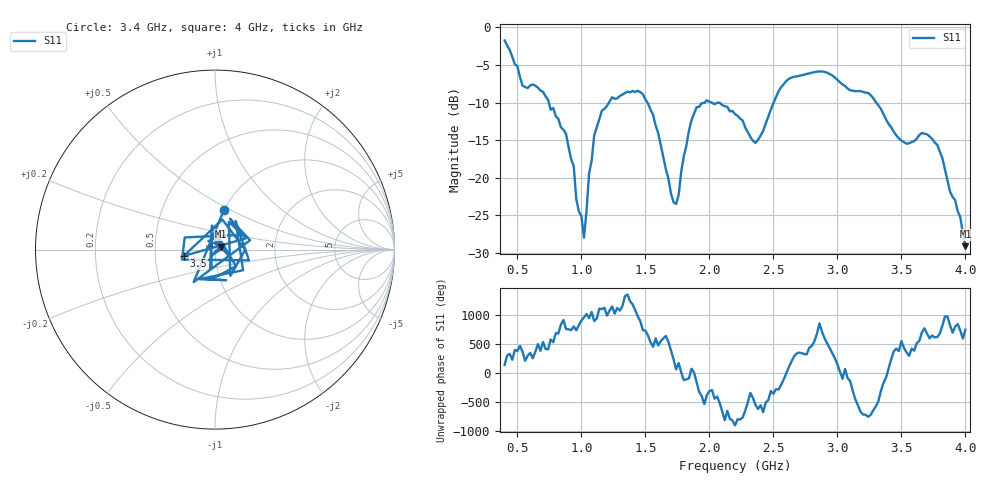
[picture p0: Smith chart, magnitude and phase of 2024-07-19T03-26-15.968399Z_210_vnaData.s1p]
!Created with skrf (http://scikit-rf.org).
# Hz S RI R 50.0
!freq ReS11 ImS11
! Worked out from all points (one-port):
!   181 points, 400 MHz to 4 GHz, reference 50 ohm
!   lowest |S11| = -29.1 dB at 4 GHz (marker M1), VSWR 1.07, Z = 53.1 + j1.8 ohm
!   |S11| at or under -10 dB: 745.3 MHz to 1.216 GHz (470.7 MHz wide, 48 % of centre); 2.017 GHz to 2.502 GHz (485.3 MHz wide, 21.5 % of centre); 3.303 GHz to end of sweep (the widest 3 of 4)
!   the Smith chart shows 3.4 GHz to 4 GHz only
!   S11 on the Smith chart (normalised r, x): 3.4 GHz: 1.00, +0.47; 3.5 GHz: 0.70, -0.05; 4 GHz: 1.06, +0.04
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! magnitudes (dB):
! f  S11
! 400 MHz  -1.7
! 540 MHz  -7.8
! 700 MHz  -8.6
! 860 MHz  -13.6
! 940 MHz  -18.5
! 960 MHz  -22.9
! 1.02 GHz  -28.0
! 1.06 GHz  -19.4
! 1.1 GHz  -14.4
! 1.16 GHz  -11.1
! 1.3 GHz  -9.1
! 1.48 GHz  -8.9
! 1.6 GHz  -14.1
! 1.72 GHz  -23.3
! 1.76 GHz  -22.3
! 1.84 GHz  -13.7
! 1.9 GHz  -10.6
! 2.2 GHz  -11.5
! 2.36 GHz  -15.4
! 2.66 GHz  -6.6
! 2.9 GHz  -5.9
! 3.1 GHz  -8.4
! 3.26 GHz  -9.0
! 3.4 GHz  -12.8
! 3.5 GHz  -15.1
! 3.56 GHz  -15.4
! 3.78 GHz  -15.6
! 4 GHz  -29.1
